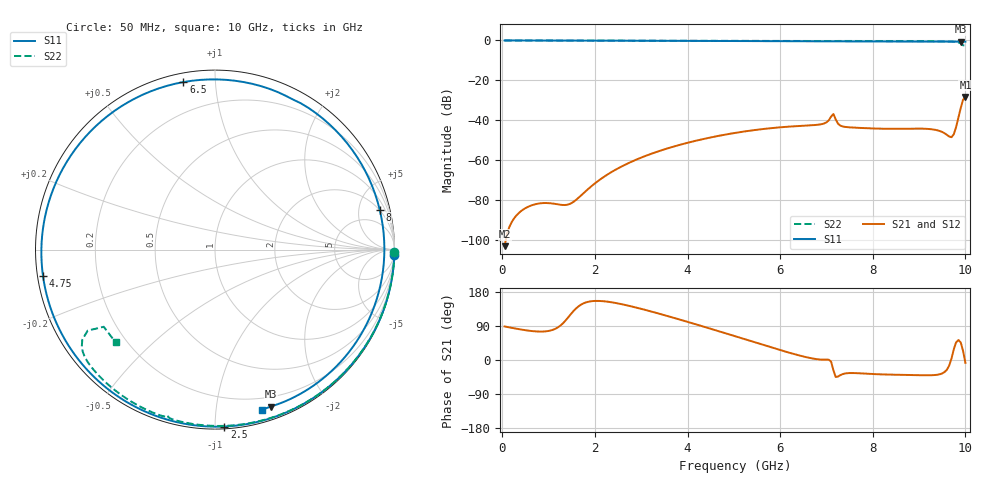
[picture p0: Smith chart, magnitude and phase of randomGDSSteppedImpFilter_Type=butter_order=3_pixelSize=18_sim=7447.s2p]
! freq	dB(S11)	phase(S11)	dB(S12)	phase(S12)
!  dB(S21)	phase(S21)	dB(S22)	phase(S22)
!S-par simulation data
#  GHz  S  DB  R 50
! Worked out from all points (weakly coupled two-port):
!   200 points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, 50 MHz to 10 GHz, reference 50 ohm
!   highest |S21| = -28.36 dB at 10 GHz (marker M1); lowest = -103.2 dB at 50 MHz (marker M2)
!   lowest |S11| = -0.6 dB at 9.9 GHz (marker M3), VSWR 26.85, Z = 5.59 - j70.6 ohm
!   |S11| at or under -10 dB: nowhere
!   |S22| runs from -2.4 to 0.0 dB; largest |S21 - S12| = 0
!   S11 on the Smith chart (normalised r, x): 50 MHz: 1, -64; 2.5 GHz: 0.01, -1.05; 4.75 GHz: 0.02, -0.07; 6.5 GHz: 0.04, +0.83; 8 GHz: 1.92, +7.90; 10 GHz: 0.10, -1.33
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0.05  -0.00 -1.8  -103.24 88.5  -103.24 88.5  -0.00 -0.8
0.75  -0.03 -26.3  -82.00 75.3  -82.00 75.3  -0.01 -12.2
1.55  -0.07 -54.1  -80.78 130.8  -80.78 130.8  -0.03 -25.1
1.75  -0.08 -61.0  -76.74 149.3  -76.74 149.3  -0.04 -28.3
2.5  -0.11 -87.0  -64.17 149.3  -64.17 149.3  -0.05 -40.0
3.4  -0.16 -118.8  -55.40 121.8  -55.40 121.8  -0.07 -53.7
4.75  -0.27 -171.4  -47.53 73.1  -47.53 73.1  -0.11 -73.4
5.05  -0.30 175.4  -46.31 61.9  -46.31 61.9  -0.12 -77.6
5.75  -0.37 141.7  -44.14 35.5  -44.14 35.5  -0.15 -87.3
6.5  -0.45 100.7  -42.81 9.3  -42.81 9.3  -0.18 -97.4
6.7  -0.46 89.1  -42.53 4.0  -42.53 4.0  -0.19 -100.1
7  -0.49 71.3  -41.10 1.1  -41.10 1.1  -0.22 -104.2
7.15  -0.51 62.6  -36.91 -27.3  -36.91 -27.3  -0.34 -105.9
7.25  -0.48 56.6  -41.78 -43.7  -41.78 -43.7  -0.25 -106.8
7.35  -0.49 50.7  -43.16 -37.3  -43.16 -37.3  -0.24 -108.3
8  -0.50 13.6  -44.17 -37.0  -44.17 -37.0  -0.28 -116.8
8.35  -0.51 -4.7  -44.35 -38.5  -44.35 -38.5  -0.31 -121.3
9.3  -0.56 -47.9  -44.65 -40.0  -44.65 -40.0  -0.41 -134.0
9.7  -0.61 -63.3  -48.55 4.0  -48.55 4.0  -0.56 -141.0
9.8  -0.63 -66.9  -43.41 46.7  -43.41 46.7  -0.74 -143.9
9.9  -0.65 -70.4  -33.86 46.1  -33.86 46.1  -1.50 -147.5
10  -0.62 -73.7  -28.36 -7.6  -28.36 -7.6  -2.41 -136.9
